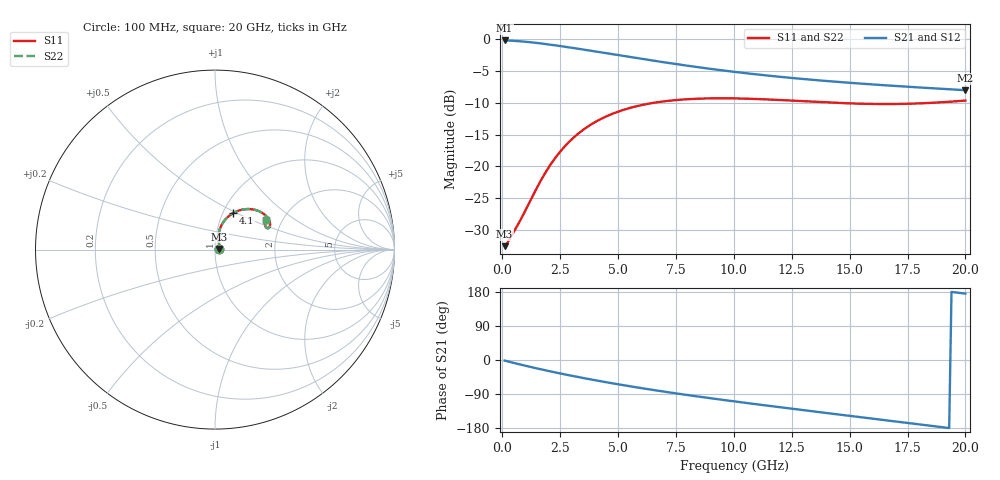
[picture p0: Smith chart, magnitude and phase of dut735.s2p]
! Touchstone file exported from HFSS 2024.1.0
!  File:  C:/UserFiles/LocalFiles/RDL_TSV_Batchsim/temp_RDL_TSV_735_1779893909.aedt
!  Generated:  11:12:44 PM May 27, 2026
!  Design:  RDL_TSV
!  Project:  temp_RDL_TSV_735_1779893909
!  Setup:  Setup1
!  Solution:  Sweep
! Variables:
!  dtsv = 11.77um
!  hbump = 3um
!  htsv = 51.02um
!  ldown = 318.85um
!  lrdl = 445.07um
!  p = 40
!  p1 = 42.21um
!  rhole = 10um
!  subl = 2736.83um
!  t = 450um
!  tdown = 3.12um
!  trdl = 2.62um
!  viad = 10um
!  wdown = 18.49um
!  wrdl = 13.71um
!  xbump = 18um
# GHz S MA R 50.000000
! Terminal data exported
! Port[1] = TM1_1_T1
! Port[2] = TM1_4_T1
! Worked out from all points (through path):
!   200 points, 100 MHz to 20 GHz, reference 50 ohm
!   highest |S21| = -0.21 dB at 100 MHz (marker M1); lowest = -8.0 dB at 20 GHz (marker M2)
!   group delay of S21, straight-line fit = 24.3 ps
!   lowest |S11| = -32.5 dB at 100 MHz (marker M3), VSWR 1.05, Z = 52.4 + j0.436 ohm
!   |S11| at or under -10 dB: start of sweep to 6.551 GHz; 14.36 GHz to 18.59 GHz (4.233 GHz wide, 25.7 % of centre)
!   |S22| runs from -32.5 to -9.3 dB; largest |S21 - S12| = 1.5e-14
!   S11 on the Smith chart (normalised r, x): 100 MHz: 1.05, +0.01; 4.1 GHz: 1.12, +0.48; 20 GHz: 1.65, +0.61
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0.1  0.02362 10.1  0.9765 -1.6  0.9765 -1.6  0.02362 10.1
! Gamma 0 0 0 0
! Port Impedance 50 0 50 0
0.3  0.02655 27.1  0.9739 -4.7  0.9739 -4.7  0.02655 27.1
1  0.04509 62.0  0.954 -15.2  0.954 -15.2  0.04508 62.0
1.6  0.07379 75.0  0.9284 -23.7  0.9284 -23.7  0.07377 75.0
2.1  0.1044 77.1  0.9036 -30.4  0.9036 -30.4  0.1044 77.1
2.4  0.1241 76.4  0.8878 -34.2  0.8878 -34.2  0.124 76.4
2.8  0.1504 74.1  0.8664 -39.2  0.8664 -39.2  0.1504 74.2
3.5  0.1943 68.6  0.8285 -47.6  0.8285 -47.6  0.1943 68.7
4.1  0.2278 63.4  0.7963 -54.4  0.7963 -54.4  0.2278 63.4
4.7  0.2567 58.2  0.7649 -60.9  0.7649 -60.9  0.2567 58.2
5.3  0.2807 53.3  0.7347 -67.2  0.7347 -67.2  0.2807 53.3
6  0.3028 48.0  0.7012 -74.1  0.7012 -74.1  0.3029 48.0
6.8  0.3212 42.6  0.6657 -81.7  0.6657 -81.7  0.3213 42.6
7.6  0.3333 37.8  0.6332 -89.0  0.6332 -89.0  0.3334 37.8
8.4  0.3402 33.7  0.6038 -95.9  0.6038 -95.9  0.3403 33.8
10.1  0.3421 27.2  0.5511 -109.9  0.5511 -109.9  0.3424 27.2
11.7  0.3344 23.5  0.5119 -122.4  0.5119 -122.4  0.3347 23.5
13.4  0.3224 21.9  0.4789 -135.3  0.4789 -135.3  0.3228 21.9
15  0.3129 22.5  0.454 -147.4  0.454 -147.4  0.3133 22.5
16.7  0.3091 24.8  0.4319 -160.1  0.4319 -160.1  0.3096 24.8
18.3  0.3143 27.6  0.4141 -172.1  0.4141 -172.1  0.3147 27.5
20  0.3292 30.2  0.397 175.2  0.397 175.2  0.3295 30.1
